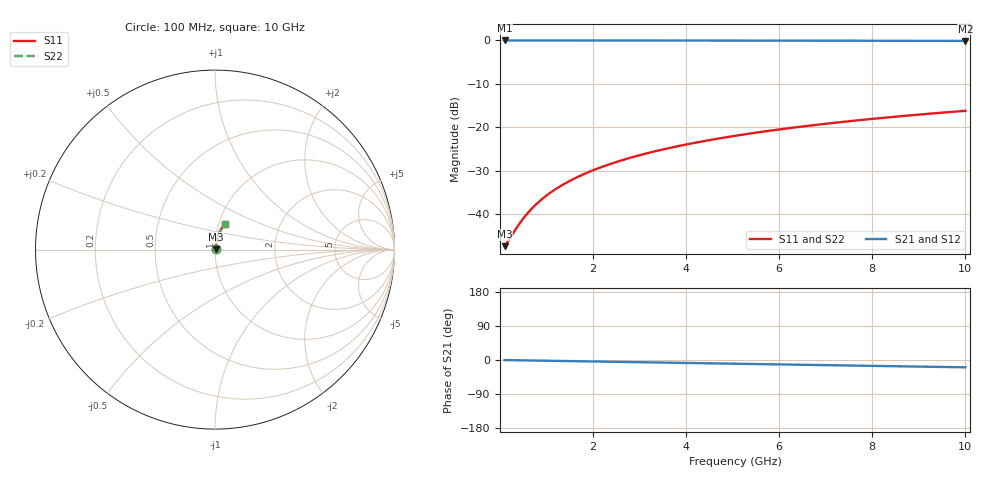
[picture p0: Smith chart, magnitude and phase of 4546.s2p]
# Hz S RI R 50.00
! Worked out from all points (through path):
!   100 points, 100 MHz to 10 GHz, reference 50 ohm
!   highest |S21| = -0.03 dB at 100 MHz (marker M1); lowest = -0.1 dB at 10 GHz (marker M2)
!   group delay of S21, straight-line fit = 5.37 ps
!   lowest |S11| = -47.4 dB at 100 MHz (marker M3), VSWR 1.01, Z = 50.4 + j0.158 ohm
!   |S11| at or under -10 dB: start of sweep to end of sweep
!   |S22| runs from -47.4 to -16.2 dB; largest |S21 - S12| = 0
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1e8  0.00397 0.00157  0.996 -0.00338  0.996 -0.00338  0.00397 0.00157
2e8  0.00401 0.00314  0.996 -0.00675  0.996 -0.00675  0.00401 0.00314
4e8  0.00411 0.00627  0.9959 -0.0135  0.9959 -0.0135  0.00411 0.00627
5e8  0.00417 0.00784  0.9958 -0.0169  0.9958 -0.0169  0.00417 0.00784
6e8  0.00424 0.00941  0.9957 -0.0203  0.9957 -0.0203  0.00424 0.00941
7e8  0.00432 0.011  0.9956 -0.0236  0.9956 -0.0236  0.00432 0.011
8e8  0.00441 0.0125  0.9955 -0.027  0.9955 -0.027  0.00441 0.0125
1e9  0.00461 0.0157  0.9952 -0.0338  0.9952 -0.0338  0.00461 0.0157
1.2e9  0.00486 0.0188  0.9949 -0.0405  0.9949 -0.0405  0.00486 0.0188
1.5e9  0.00531 0.0235  0.9943 -0.0506  0.9943 -0.0506  0.00531 0.0235
1.8e9  0.00585 0.0281  0.9936 -0.0607  0.9936 -0.0607  0.00585 0.0281
2.1e9  0.00649 0.0328  0.9928 -0.0708  0.9928 -0.0708  0.00649 0.0328
2.5e9  0.00748 0.039  0.9915 -0.0842  0.9915 -0.0842  0.00748 0.039
2.9e9  0.00864 0.0451  0.9899 -0.0976  0.9899 -0.0976  0.00864 0.0451
3.4e9  0.0103 0.0528  0.9877 -0.1143  0.9877 -0.1143  0.0103 0.0528
4.2e9  0.0135 0.0649  0.9835 -0.1409  0.9835 -0.1409  0.0135 0.0649
5.1e9  0.0179 0.0782  0.9777 -0.1706  0.9777 -0.1706  0.0179 0.0782
5.9e9  0.0225 0.0898  0.9717 -0.1967  0.9717 -0.1967  0.0225 0.0898
6.7e9  0.0277 0.1011  0.9648 -0.2225  0.9648 -0.2225  0.0277 0.1011
7.5e9  0.0334 0.1121  0.9571 -0.248  0.9571 -0.248  0.0334 0.1121
8.4e9  0.0406 0.1241  0.9476 -0.2763  0.9476 -0.2763  0.0406 0.1241
1e10  0.055 0.1441  0.9282 -0.3254  0.9282 -0.3254  0.055 0.1441
